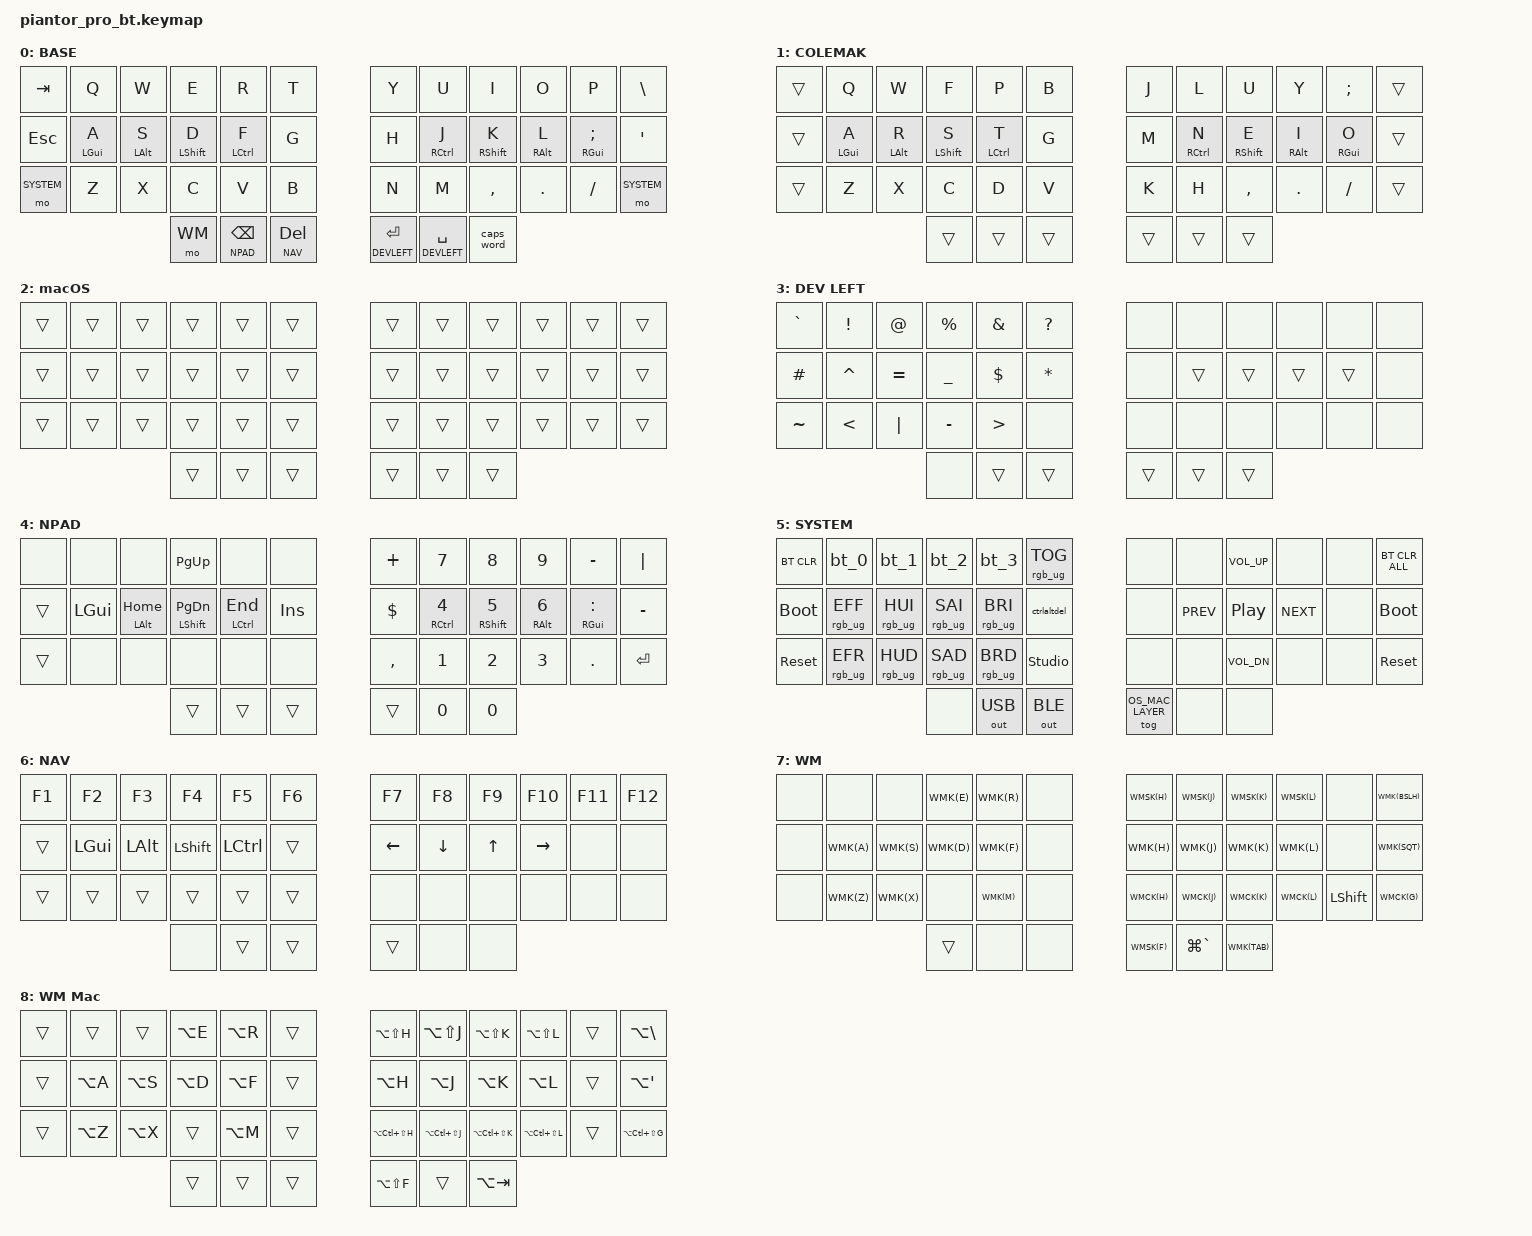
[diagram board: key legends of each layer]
/*
 * Copyright (c) 2020 The ZMK Contributors
 *
 * SPDX-License-Identifier: MIT
 */
// Key position definitions for home row mods (Piantor Pro BT 42)
#define KEYS_L 0 1 2 3 4 5 12 13 14 15 16 17 24 25 26 27 28 29  // Left-hand keys by number
#define KEYS_R 6 7 8 9 10 11 18 19 20 21 22 23 30 31 32 33 34 35  // Right-hand keys by number
#define THUMBS_L 36 37 38  // Left thumb keys (Piantor only has 3 per side)
#define THUMBS_R 39 40 41  // Right thumb keys

#include <behaviors.dtsi>
#include <dt-bindings/zmk/keys.h>
#include <dt-bindings/zmk/bt.h>
#include <dt-bindings/zmk/rgb.h>
#include <dt-bindings/zmk/ext_power.h>
#include <dt-bindings/zmk/outputs.h>
#include <dt-bindings/zmk/mouse.h>

// Layer indices. These must match the order of the blocks in `keymap` below.
#define BASE 0
#define COLEMAK 1
#define OS_MAC_LAYER 2
#define DEVLEFT 3
#define NPAD 4
#define SYSTEM 5
#define NAV 6
#define WM 7
#define WM_MAC_LAYER 8

#include "shared_behaviors.dtsi"

/ {
    chosen {
        zmk,physical-layout = &default_layout;
    };
};

/ {
    combos {
        compatible = "zmk,combos";
        /* ----- LEFT HAND ----- */
        combo_tilde {
            timeout-ms = <50>;
            require-prior-idle-ms = <150>;
            key-positions = <1 2>;
            layers = <BASE COLEMAK OS_MAC_LAYER>;
            bindings = <&kp TILDE>;
        };
        combo_lparen {
            timeout-ms = <50>;
            require-prior-idle-ms = <150>;
            key-positions = <16 15>;
            layers = <BASE COLEMAK OS_MAC_LAYER>;
            bindings = <&kp LPAR>;
        };
        combo_lbracket {
            timeout-ms = <50>;
            require-prior-idle-ms = <150>;
            key-positions = <14 15>;
            layers = <BASE COLEMAK OS_MAC_LAYER>;
            bindings = <&kp LBKT>;
        };
        combo_lbrace {
            timeout-ms = <50>;
            require-prior-idle-ms = <150>;
            key-positions = <14 16>;
            layers = <BASE COLEMAK OS_MAC_LAYER>;
            bindings = <&kp LBRC>;
        };
        combo_underscore {
            timeout-ms = <50>;
            require-prior-idle-ms = <150>;
            key-positions = <13 14>;
            layers = <BASE COLEMAK OS_MAC_LAYER>;
            bindings = <&kp UNDERSCORE>;
        };
        /* ----- RIGHT HAND ----- */
        combo_rparen {
            timeout-ms = <50>;
            require-prior-idle-ms = <150>;
            key-positions = <19 20>;
            layers = <BASE COLEMAK OS_MAC_LAYER>;
            bindings = <&kp RPAR>;
        };
        combo_rbracket {
            timeout-ms = <50>;
            require-prior-idle-ms = <150>;
            key-positions = <20 21>;
            layers = <BASE COLEMAK OS_MAC_LAYER>;
            bindings = <&kp RBKT>;
        };
        combo_rbrace {
            timeout-ms = <50>;
            require-prior-idle-ms = <150>;
            key-positions = <19 21>;
            layers = <BASE COLEMAK OS_MAC_LAYER>;
            bindings = <&kp RBRC>;
        };
        combo_hyphen {
            timeout-ms = <50>;
            require-prior-idle-ms = <150>;
            key-positions = <21 22>;
            layers = <BASE COLEMAK OS_MAC_LAYER>;
            bindings = <&kp MINUS>;
        };
        combo_colemak_toggle {
            timeout-ms = <50>;
            require-prior-idle-ms = <300>;
            key-positions = <38 39>;
            bindings = <&tog COLEMAK>;
            layers = <BASE COLEMAK OS_MAC_LAYER>;
        };
    };

    keymap {
        compatible = "zmk,keymap";
        BASE {
            display-name = "BASE";
            bindings = <
    &kp TAB      &kp Q            &kp W            &kp E              &kp R            &kp T                                              &kp Y                &kp U              &kp I              &kp O              &kp P            &kp BSLH
    &kp ESC      &hml LGUI A      &hml LALT S      &hmls LSHIFT D     &hml LCTRL F     &kp G                                              &kp H                &hmr RCTRL J       &hmrs RSHIFT K     &hmr RALT L        &hmr RGUI SEMI   &kp SINGLE_QUOTE
    &mo SYSTEM   &kp Z            &kp X            &kp C              &kp V            &kp B                                              &kp N                &kp M              &kp COMMA          &kp DOT            &kp FSLH         &mo SYSTEM
                                                                      &mo WM           &ltlt NPAD BSPC  &ltlt NAV DEL  &ltrt DEVLEFT RET  &ltrt DEVLEFT SPACE  &caps_word
            >;
        };
        COLEMAK {
            display-name = "COLEMAK";
            bindings = <
    &trans       &kp Q            &kp W            &kp F              &kp P            &kp B                                              &kp J                &kp L              &kp U              &kp Y              &kp SEMI         &trans
    &trans       &hml LGUI A      &hml LALT R      &hmls LSHIFT S     &hml LCTRL T     &kp G                                              &kp M                &hmr RCTRL N       &hmrs RSHIFT E     &hmr RALT I        &hmr RGUI O      &trans
    &trans       &kp Z            &kp X            &kp C              &kp D            &kp V                                              &kp K                &kp H              &kp COMMA          &kp DOT            &kp FSLH         &trans
                                                                      &trans           &trans           &trans         &trans             &trans               &trans
            >;
        };
        OS_MAC {
            display-name = "macOS";
            bindings = <
    &trans       &trans           &trans           &trans             &trans           &trans                                             &trans               &trans             &trans             &trans             &trans           &trans
    &trans       &trans           &trans           &trans             &trans           &trans                                             &trans               &trans             &trans             &trans             &trans           &trans
    &trans       &trans           &trans           &trans             &trans           &trans                                             &trans               &trans             &trans             &trans             &trans           &trans
                                                                      &trans           &trans           &trans         &trans             &trans               &trans
            >;
        };
        DEVLEFT {
            display-name = "DEV LEFT";
            bindings = <
    &kp GRAVE    &kp EXCL         &kp AT_SIGN      &kp PERCENT        &kp AMPERSAND    &kp QUESTION                                       &none                &none              &none              &none              &none            &none
    &kp HASH     &kp CARET        &kp EQUAL        &kp UNDERSCORE     &kp DOLLAR       &kp STAR                                           &none                &trans             &trans             &trans             &trans           &none
    &kp TILDE    &kp LT           &kp PIPE         &kp MINUS          &kp GT           &none                                              &none                &none              &none              &none              &none            &none
                                                                      &none            &trans           &trans         &trans             &trans               &trans
            >;
        };
        NPAD {
            display-name = "NPAD";
            bindings = <
    &none        &none            &none            &kp PG_UP          &none            &none                                              &kp PLUS             &kp N7             &kp N8             &kp N9             &kp MINUS        &kp PIPE
    &trans       &kp LGUI         &hml LALT HOME   &hml LSHIFT PG_DN  &hml LCTRL END   &kp INSERT                                         &kp DOLLAR           &hmr RCTRL N4      &hmr RSHIFT N5     &hmr RALT N6       &hmr RGUI COLON  &kp MINUS
    &trans       &none            &none            &none              &none            &none                                              &kp COMMA            &kp N1             &kp N2             &kp N3             &kp PERIOD       &kp ENTER
                                                                      &trans           &trans           &trans         &trans             &kp N0               &kp N0
            >;
        };
        SYSTEM {
            display-name = "SYSTEM";
            bindings = <
    &bt BT_CLR   &bt_0            &bt_1            &bt_2              &bt_3            &rgb_ug RGB_TOG                                    &none                &none              &kp C_VOL_UP       &none              &none            &bt BT_CLR_ALL
    &bootloader  &rgb_ug RGB_EFF  &rgb_ug RGB_HUI  &rgb_ug RGB_SAI    &rgb_ug RGB_BRI  &ctrlaltdel                                        &none                &kp C_PREV         &kp C_PP           &kp C_NEXT         &none            &bootloader
    &sys_reset   &rgb_ug RGB_EFR  &rgb_ug RGB_HUD  &rgb_ug RGB_SAD    &rgb_ug RGB_BRD  &studio_unlock                                     &none                &none              &kp C_VOL_DN       &none              &none            &sys_reset
                                                                      &none            &out OUT_USB     &out OUT_BLE   &tog OS_MAC_LAYER  &none                &none
            >;
        };
        NAV {
            display-name = "NAV";
            bindings = <
    &kp F1       &kp F2           &kp F3           &kp F4             &kp F5           &kp F6                                             &kp F7               &kp F8             &kp F9             &kp F10            &kp F11          &kp F12
    &trans       &kp LGUI         &kp LALT         &kp LSHIFT         &kp LCTRL        &trans                                             &kp LEFT_ARROW       &kp DOWN_ARROW     &kp UP_ARROW       &kp RIGHT_ARROW    &none            &none
    &trans       &trans           &trans           &trans             &trans           &trans                                             &none                &none              &none              &none              &none            &none
                                                                      &none            &trans           &trans         &trans             &none                &none
            >;
        };
        WM {
            display-name = "WM";
            bindings = <
    &none        &none            &none            &kp WMK(E)         &kp WMK(R)       &none                                              &kp WMSK(H)          &kp WMSK(J)        &kp WMSK(K)        &kp WMSK(L)        &none            &kp WMK(BSLH)
    &none        &kp WMK(A)       &kp WMK(S)       &kp WMK(D)         &kp WMK(F)       &none                                              &kp WMK(H)           &kp WMK(J)         &kp WMK(K)         &kp WMK(L)         &none            &kp WMK(SQT)
    &none        &kp WMK(Z)       &kp WMK(X)       &none              &kp WMK(M)       &none                                              &kp WMCK(H)          &kp WMCK(J)        &kp WMCK(K)        &kp WMCK(L)        &kp LSHIFT       &kp WMCK(G)
                                                                      &trans           &none            &none          &kp WMSK(F)        &kp LG(GRAVE)        &kp WMK(TAB)
            >;
        };
        WM_MAC {
            display-name = "WM Mac";
            bindings = <
    &trans       &trans           &trans           &kp LA(E)          &kp LA(R)        &trans                                             &kp LA(LS(H))        &kp LA(LS(J))      &kp LA(LS(K))      &kp LA(LS(L))      &trans           &kp LA(BSLH)
    &trans       &kp LA(A)        &kp LA(S)        &kp LA(D)          &kp LA(F)        &trans                                             &kp LA(H)            &kp LA(J)          &kp LA(K)          &kp LA(L)          &trans           &kp LA(SQT)
    &trans       &kp LA(Z)        &kp LA(X)        &trans             &kp LA(M)        &trans                                             &kp LA(LC(LS(H)))    &kp LA(LC(LS(J)))  &kp LA(LC(LS(K)))  &kp LA(LC(LS(L)))  &trans           &kp LA(LC(LS(G)))
                                                                      &trans           &trans           &trans         &kp LA(LS(F))      &trans               &kp LA(TAB)
            >;
        };
    };

    conditional_layers {
        compatible = "zmk,conditional-layers";
        wm_mac {
            if-layers = <WM OS_MAC_LAYER>;
            then-layer = <WM_MAC_LAYER>;
        };
    };
};
